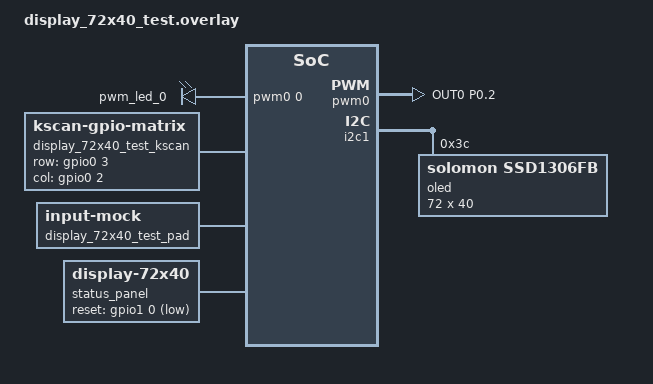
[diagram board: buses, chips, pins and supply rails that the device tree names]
/*
 * Copyright (c) 2026 amgskobo
 * SPDX-License-Identifier: MIT
 *
 * A 72x40 SSD1306 on the XIAO's I2C pins, sharing the bus with an
 * input device, as the module is meant to be used.
 */

#include <zephyr/dt-bindings/gpio/gpio.h>
#include <zephyr/dt-bindings/pwm/pwm.h>
#include <physical_layouts.dtsi>
#include <dt-bindings/zmk/matrix_transform.h>

&pinctrl {
    display_test_pwm_default: display_test_pwm_default {
        group1 { psels = <NRF_PSEL(PWM_OUT0, 0, 2)>; };
    };
    display_test_pwm_sleep: display_test_pwm_sleep {
        group1 {
            psels = <NRF_PSEL(PWM_OUT0, 0, 2)>;
            low-power-enable;
        };
    };
};

&pwm0 {
    status = "okay";
    pinctrl-0 = <&display_test_pwm_default>;
    pinctrl-1 = <&display_test_pwm_sleep>;
    pinctrl-names = "default", "sleep";
};

&i2c1 {
    status = "okay";

    oled: ssd1306@3c {
        compatible = "solomon,ssd1306fb";
        reg = <0x3c>;
        width = <72>;
        height = <40>;
        segment-offset = <28>;
        page-offset = <0>;
        display-offset = <0>;
        multiplex-ratio = <39>;
        segment-remap;
        com-invdir;
        prechargep = <0x22>;
        use-internal-iref;
    };
};

/ {
    chosen {
        zmk,backlight = &display_test_led;
        zmk,kscan = &display_72x40_test_kscan;
        zmk,physical-layout = &display_72x40_test_layout;
    };

    display_test_led: pwmleds {
        compatible = "pwm-leds";
        pwm_led_0 { pwms = <&pwm0 0 PWM_MSEC(10) PWM_POLARITY_NORMAL>; };
    };

    display_72x40_test_kscan: display_72x40_test_kscan {
        compatible = "zmk,kscan-gpio-matrix";
        diode-direction = "col2row";
        row-gpios = <&gpio0 3 (GPIO_ACTIVE_HIGH | GPIO_PULL_DOWN)>;
        col-gpios = <&gpio0 2 GPIO_ACTIVE_HIGH>;
    };

    display_72x40_test_transform: display_72x40_test_transform {
        compatible = "zmk,matrix-transform";
        rows = <1>;
        columns = <1>;
        map = <RC(0, 0)>;
    };

    display_72x40_test_layout: display_72x40_test_layout {
        compatible = "zmk,physical-layout";
        display-name = "Display 72x40 test";
        transform = <&display_72x40_test_transform>;
        keys = <&key_physical_attrs 100 100 0 0 0 0 0>;
    };

    /* Stands in for a touch controller on the same bus. */
    display_72x40_test_pad: display_72x40_test_pad {
        compatible = "zmk,input-mock";
        event-period = <100>;
        events = <>;
    };

    status_panel {
        compatible = "zmk,display-72x40";
        display = <&oled>;
        hidden-layers = <2>;
        sync-input-device = <&display_72x40_test_pad>;
        contrast = <128>;
        /* Built turned on its side, so the projection is compiled too. */
        rotation = <90>;
        /* And with a reset line, so that pulse is compiled too. */
        reset-gpios = <&gpio1 0 GPIO_ACTIVE_LOW>;
    };
};
